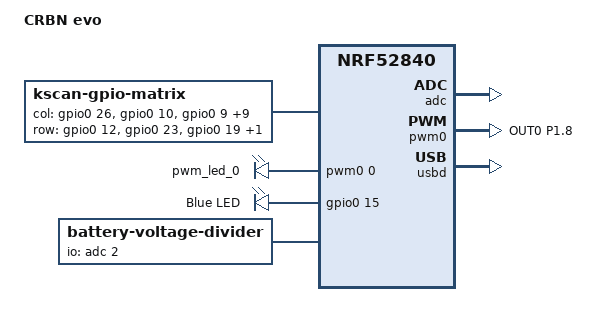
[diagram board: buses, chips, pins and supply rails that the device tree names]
/*
* Copyright (c) 2021 Polarity Works
*
* SPDX-License-Identifier: MIT
*/

/dts-v1/;
#include <nordic/nrf52840_qiaa.dtsi>
#include <dt-bindings/zmk/matrix_transform.h>

/ {
	model = "CRBN evo";
	compatible = "polarityworks,crbnevo";

	chosen {
		zephyr,code-partition = &code_partition;
		zephyr,sram = &sram0;
		zephyr,flash = &flash0;
		zmk,kscan = &kscan0;
		zmk,backlight = &backlight;
		zephyr,console = &cdc_acm_uart;
	};

	kscan0: kscan_0 {
		compatible = "zmk,kscan-gpio-matrix";
		label = "KSCAN";
		diode-direction = "col2row";
		wakeup-source;
		col-gpios
			= <&gpio0 26 GPIO_ACTIVE_HIGH>
			, <&gpio0 10 GPIO_ACTIVE_HIGH>
			, <&gpio0 9 GPIO_ACTIVE_HIGH>
			, <&gpio0 28 GPIO_ACTIVE_HIGH>
			, <&gpio0 29 GPIO_ACTIVE_HIGH>
			, <&gpio0 30 GPIO_ACTIVE_HIGH>
			, <&gpio0 31 GPIO_ACTIVE_HIGH>
			, <&gpio0 2 GPIO_ACTIVE_HIGH>
			, <&gpio0 3 GPIO_ACTIVE_HIGH>
			, <&gpio0 5 GPIO_ACTIVE_HIGH>
			, <&gpio0 6 GPIO_ACTIVE_HIGH>
			, <&gpio0 8 GPIO_ACTIVE_HIGH>
			;

		row-gpios
			= <&gpio0 12 (GPIO_ACTIVE_HIGH | GPIO_PULL_DOWN)>
			, <&gpio0 23 (GPIO_ACTIVE_HIGH | GPIO_PULL_DOWN)>
			, <&gpio0 19 (GPIO_ACTIVE_HIGH | GPIO_PULL_DOWN)>
			, <&gpio0 11 (GPIO_ACTIVE_HIGH | GPIO_PULL_DOWN)>
			;
	};

	backlight: pwmleds {
		compatible = "pwm-leds";
		label = "Backlight LEDs";
		pwm_led_0 {
			pwms = <&pwm0 0 10000 PWM_POLARITY_NORMAL>;
		};
	};

	leds {
		compatible = "gpio-leds";
		blue_led: led_0 {
			gpios = <&gpio0 15 GPIO_ACTIVE_HIGH>;
			label = "Blue LED";
		};
	};

	vbatt {
		compatible = "zmk,battery-voltage-divider";
		label = "BATTERY";
		io-channels = <&adc 2>;
		output-ohms = <100000>;
		full-ohms = <(100000 + 100000)>;
	};
};

&adc {
	status = "okay";
};

&pwm0 {
	status = "okay";
	pinctrl-0 = <&pwm0_default>;
	pinctrl-1 = <&pwm0_sleep>;
	pinctrl-names = "default", "sleep";
};

&gpiote {
	status = "okay";
};

&pinctrl {
	pwm0_default: pwm0_default {
		group1 {
			psels = <NRF_PSEL(PWM_OUT0, 1, 8)>;
		};
	};
	pwm0_sleep: pwm0_sleep {
		group1 {
			psels = <NRF_PSEL(PWM_OUT0, 1, 8)>;
			low-power-enable;
		};
	};
};

&gpio0 {
	status = "okay";
};

&gpio1 {
	status = "okay";
};

&usbd {
	status = "okay";
	cdc_acm_uart: cdc_acm_uart {
    compatible = "zephyr,cdc-acm-uart";
    label = "CDC_ACM_0";
  };
};


&flash0 {
	/*
	 * For more information, see:
	 * http://docs.zephyrproject.org/latest/devices/dts/flash_partitions.html
	 */
	partitions {
		compatible = "fixed-partitions";
		#address-cells = <1>;
		#size-cells = <1>;

		sd_partition: partition@0 {
			label = "softdevice";
			reg = <0x00000000 0x00026000>;
		};
		code_partition: partition@26000 {
			label = "code_partition";
			reg = <0x00026000 0x000c6000>;
		};

		/*
		 * The flash starting at 0x000ec000 and ending at
		 * 0x000f3fff is reserved for use by the application.
		 */

		/*
		 * Storage partition will be used by FCB/LittleFS/NVS
		 * if enabled.
		 */
		storage_partition: partition@ec000 {
			label = "storage";
			reg = <0x000ec000 0x00008000>;
		};

		boot_partition: partition@f4000 {
			label = "adafruit_boot";
			reg = <0x000f4000 0x0000c000>;
		};
	};
};
